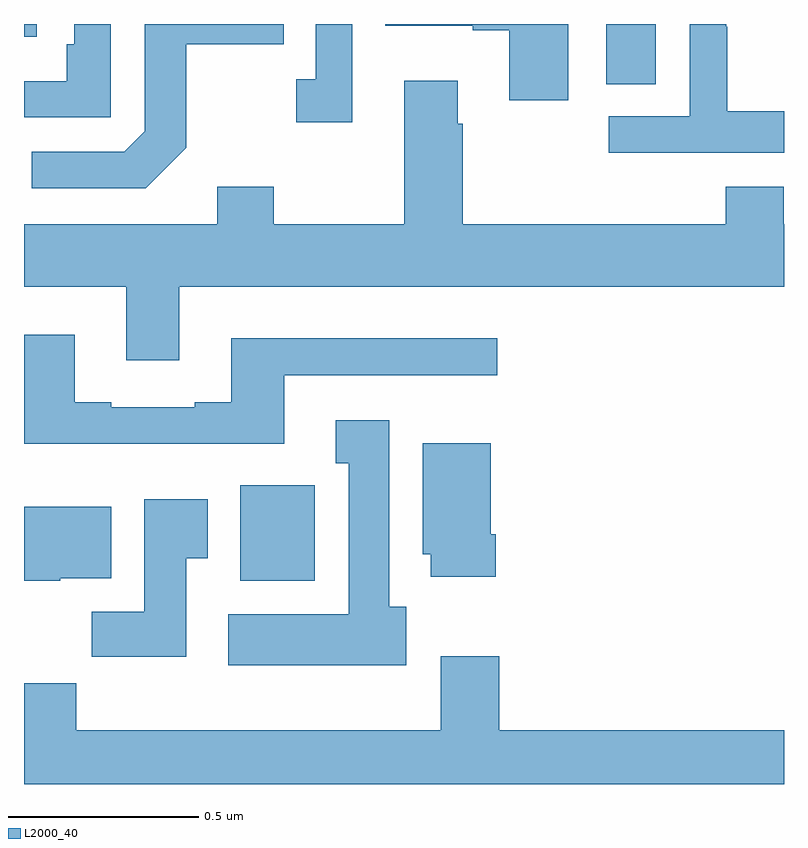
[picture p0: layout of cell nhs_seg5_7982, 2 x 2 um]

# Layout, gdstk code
import gdstk
lib = gdstk.Library(unit=1e-6, precision=1e-09)
def R(c, l, rs):  # rectangles x0, y0, x1, y1
    for r in rs: c.add(gdstk.rectangle(r[:2], r[2:], *l))
def P(c, l, *ps):  # polygons
    for p in ps: c.add(gdstk.Polygon(p, *l))
L2000_40 = (2000, 40)

nhs_seg5_7982 = lib.new_cell('nhs_seg5_7982')
R(nhs_seg5_7982, L2000_40, [(216.569,841.334,216.765,841.585), (217.532,842.641,217.663,842.799), (216,842.766,216.034,842.799)])
P(nhs_seg5_7982, L2000_40, [(216.864,842.799),(216.768,842.799),(216.768,842.654),(216.717,842.654),(216.717,842.541),(216.864,842.541)],
  [(216.427,842.473),(216.427,842.746),(216.683,842.746),(216.683,842.799),(216.318,842.799),(216.318,842.517),(216.264,842.463),(216.021,842.463),(216.021,842.367),(216.321,842.367)],
  [(218,842.569),(217.851,842.569),(217.851,842.792),(217.848,842.792),(217.848,842.799),(217.752,842.799),(217.752,842.556),(217.539,842.556),(217.539,842.46),(218,842.46)],
  [(217.432,842.799),(216.951,842.799),(216.951,842.795),(217.181,842.795),(217.181,842.783),(217.277,842.783),(217.277,842.598),(217.432,842.598)],
  [(216.228,842.799),(216.132,842.799),(216.132,842.746),(216.112,842.746),(216.112,842.649),(216,842.649),(216,842.553),(216.228,842.553)],
  [(216,842.108),(216.269,842.108),(216.269,841.914),(216.409,841.914),(216.409,842.108),(218,842.108),(218,842.272),(217.999,842.272),(217.999,842.371),(217.847,842.371),(217.847,842.272),(217.154,842.272),(217.154,842.537),(217.141,842.537),(217.141,842.65),(217.001,842.65),(217.001,842.272),(216.657,842.272),(216.657,842.371),(216.509,842.371),(216.509,842.272),(216,842.272)],
  [(216.685,841.875),(217.246,841.875),(217.246,841.972),(216.545,841.972),(216.545,841.804),(216.449,841.804),(216.449,841.791),(216.229,841.791),(216.229,841.804),(216.133,841.804),(216.133,841.981),(216,841.981),(216,841.694),(216.685,841.694)],
  [(217.006,841.266),(216.961,841.266),(216.961,841.756),(216.821,841.756),(216.821,841.643),(216.854,841.643),(216.854,841.246),(216.537,841.246),(216.537,841.112),(217.006,841.112)],
  [(217.241,841.456),(217.228,841.456),(217.228,841.696),(217.049,841.696),(217.049,841.404),(217.07,841.404),(217.07,841.344),(217.241,841.344)],
  [(216.427,841.393),(216.484,841.393),(216.484,841.549),(216.317,841.549),(216.317,841.252),(216.178,841.252),(216.178,841.134),(216.427,841.134)],
  [(216.096,841.34),(216.229,841.34),(216.229,841.528),(216,841.528),(216,841.334),(216.096,841.334)],
  [(218,840.94),(217.25,840.94),(217.25,841.135),(217.097,841.135),(217.097,840.94),(216.137,840.94),(216.137,841.064),(216,841.064),(216,840.799),(218,840.799)])

lib.write_gds('nhs_seg5_7982.gds')
